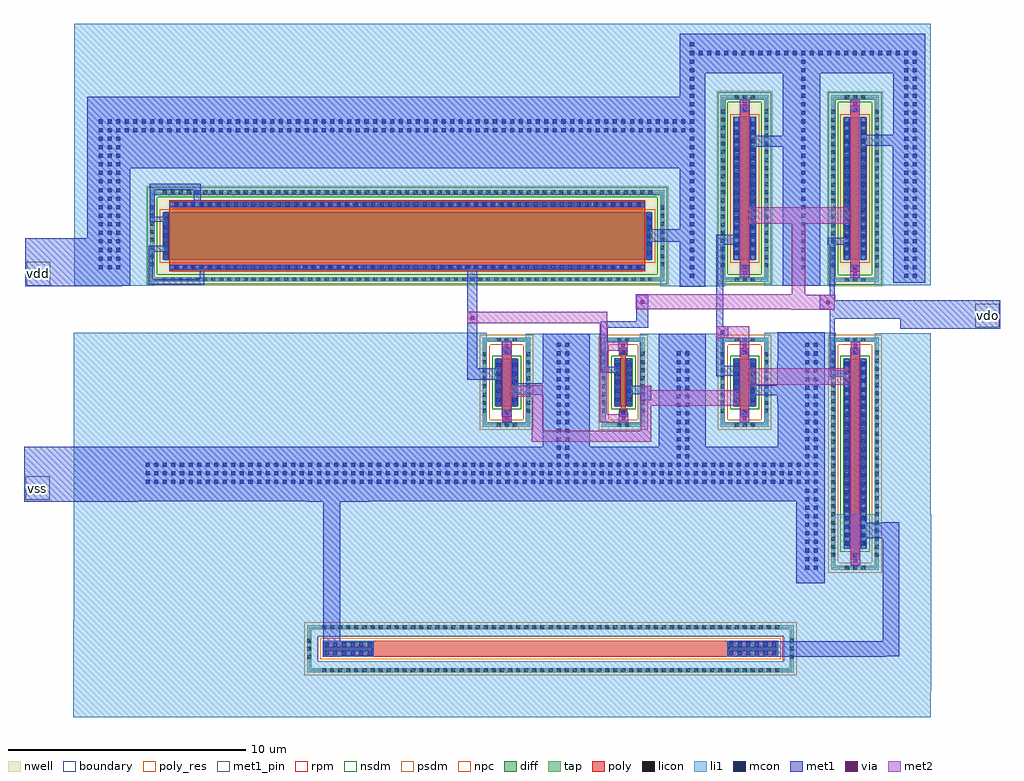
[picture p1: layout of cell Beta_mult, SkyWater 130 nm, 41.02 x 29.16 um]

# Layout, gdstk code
from math import pi, radians
import gdstk
lib = gdstk.Library(unit=1e-6, precision=1e-09)
def R(c, l, rs):  # rectangles x0, y0, x1, y1
    for r in rs: c.add(gdstk.rectangle(r[:2], r[2:], *l))
def A(c, l, x, y, w, h, nx, ny, dx, dy):  # array of equal rectangles
    R(c, l, [(x+i*dx, y+j*dy, x+i*dx+w, y+j*dy+h) for i in range(nx) for j in range(ny)])
nwell = (64, 20)
diff = (65, 20)
tap = (65, 44)
poly_res = (66, 13)
poly = (66, 20)
licon = (66, 44)
li1 = (67, 20)
mcon = (67, 44)
met1_pin = (68, 16)
met1 = (68, 20)
via = (68, 44)
met2 = (69, 20)
rpm = (86, 20)
nsdm = (93, 44)
psdm = (94, 20)
npc = (95, 20)
boundary = (235, 4)

sky130_fd_pr__res_high_p = lib.new_cell('sky130_fd_pr__res_high_po_0p69_APCDV8')
R(sky130_fd_pr__res_high_p, tap, [(-0.995,-10.23,0.995,-10.06), (-0.995,-10.06,-0.825,10.06), (0.825,-10.06,0.995,10.06), (-0.995,10.06,0.995,10.23)])
R(sky130_fd_pr__res_high_p, poly_res, [(-0.345,-7.5,0.345,7.5)])
R(sky130_fd_pr__res_high_p, poly, [(-0.345,-9.58,0.345,9.58)])
A(sky130_fd_pr__res_high_p, licon, -0.425, -10.23, 0.17, 0.17, 3, 2, 0.34, 20.29)
A(sky130_fd_pr__res_high_p, licon, -0.995, -9.605, 0.17, 0.17, 1, 57, 0, 0.34)
A(sky130_fd_pr__res_high_p, licon, 0.825, -9.605, 0.17, 0.17, 1, 57, 0, 0.34)
R(sky130_fd_pr__res_high_p, licon, [(-0.095,-9.5,0.095,-7.5), (-0.095,7.5,0.095,9.5)])
R(sky130_fd_pr__res_high_p, li1, [(-0.995,-10.23,0.995,-10.06), (-0.995,-10.06,-0.825,10.06), (0.825,-10.06,0.995,10.06), (-0.345,-9.58,0.345,-7.42), (-0.345,7.42,0.345,9.58), (-0.995,10.06,0.995,10.23)])
A(sky130_fd_pr__res_high_p, mcon, -0.265, -9.485, 0.17, 0.17, 1, 6, 0, 0.36)
A(sky130_fd_pr__res_high_p, mcon, 0.095, -9.485, 0.17, 0.17, 1, 6, 0, 0.36)
A(sky130_fd_pr__res_high_p, mcon, -0.265, 7.51, 0.17, 0.17, 1, 6, 0, 0.36)
A(sky130_fd_pr__res_high_p, mcon, 0.095, 7.51, 0.17, 0.17, 1, 6, 0, 0.36)
R(sky130_fd_pr__res_high_p, met1, [(-0.295,-9.55,0.295,-7.445), (-0.295,7.445,0.295,9.55)])
R(sky130_fd_pr__res_high_p, rpm, [(-0.545,-9.78,0.545,9.78)])
R(sky130_fd_pr__res_high_p, psdm, [(-1.12,-10.355,1.12,10.355)])
R(sky130_fd_pr__res_high_p, npc, [(-0.44,-9.675,0.44,9.675)])
R(sky130_fd_pr__res_high_p, boundary, [(-0.91,-10.145,0.91,10.145)])
sky130_fd_pr__res_high_p.add(gdstk.Label('B', (0,-10.145), layer=67, texttype=5))
sky130_fd_pr__res_high_p.add(gdstk.Label('R1', (0,9.405), layer=67, texttype=5))
sky130_fd_pr__res_high_p.add(gdstk.Label('R2', (0,-9.405), layer=67, texttype=5))

sky130_fd_pr__nfet_01v8_ = lib.new_cell('sky130_fd_pr__nfet_01v8_8SA9P7')
R(sky130_fd_pr__nfet_01v8_, diff, [(-0.39,-1,0.39,1)])
R(sky130_fd_pr__nfet_01v8_, tap, [(-0.9,-1.87,0.9,-1.7), (-0.9,-1.7,-0.73,1.7), (0.73,-1.7,0.9,1.7), (-0.9,1.7,0.9,1.87)])
R(sky130_fd_pr__nfet_01v8_, poly, [(-0.165,-1.44,0.165,-1.11), (-0.1,-1.11,0.1,1.11), (-0.165,1.11,0.165,1.44)])
A(sky130_fd_pr__nfet_01v8_, licon, -0.9, -1.275, 0.17, 0.17, 1, 8, 0, 0.34)
A(sky130_fd_pr__nfet_01v8_, licon, 0.73, -1.275, 0.17, 0.17, 1, 8, 0, 0.34)
A(sky130_fd_pr__nfet_01v8_, licon, -0.33, -0.935, 0.17, 0.17, 1, 6, 0, 0.34)
A(sky130_fd_pr__nfet_01v8_, licon, 0.16, -0.935, 0.17, 0.17, 1, 6, 0, 0.34)
R(sky130_fd_pr__nfet_01v8_, licon, [(-0.255,-1.87,-0.085,-1.7), (0.085,-1.87,0.255,-1.7), (-0.085,-1.36,0.085,-1.19), (-0.085,1.19,0.085,1.36), (-0.255,1.7,-0.085,1.87), (0.085,1.7,0.255,1.87)])
R(sky130_fd_pr__nfet_01v8_, li1, [(-0.9,-1.87,0.9,-1.7), (-0.9,-1.7,-0.73,1.7), (0.73,-1.7,0.9,1.7), (-0.165,-1.36,0.165,-1.19), (-0.33,-1.02,-0.16,1.02), (0.16,-1.02,0.33,1.02), (-0.165,1.19,0.165,1.36), (-0.9,1.7,0.9,1.87)])
A(sky130_fd_pr__nfet_01v8_, mcon, -0.33, -0.805, 0.17, 0.17, 1, 5, 0, 0.36)
A(sky130_fd_pr__nfet_01v8_, mcon, 0.16, -0.805, 0.17, 0.17, 1, 5, 0, 0.36)
R(sky130_fd_pr__nfet_01v8_, mcon, [(-0.085,-1.36,0.085,-1.19), (-0.085,1.19,0.085,1.36)])
R(sky130_fd_pr__nfet_01v8_, met1, [(-0.145,-1.39,0.145,-1.16), (-0.36,-1,-0.13,1), (0.13,-1,0.36,1), (-0.145,1.16,0.145,1.39)])
R(sky130_fd_pr__nfet_01v8_, nsdm, [(-0.515,-1.125,0.515,1.125)])
R(sky130_fd_pr__nfet_01v8_, psdm, [(-1.025,-1.995,1.025,-1.575), (-1.025,-1.575,-0.605,1.575), (0.605,-1.575,1.025,1.575), (-1.025,1.575,1.025,1.995)])
R(sky130_fd_pr__nfet_01v8_, npc, [(-0.185,-1.46,0.185,-1.09), (-0.185,1.09,0.185,1.46)])
R(sky130_fd_pr__nfet_01v8_, boundary, [(-0.815,-1.785,0.815,1.785)])
sky130_fd_pr__nfet_01v8_.add(gdstk.Label('B', (0,-1.785), layer=67, texttype=5))
sky130_fd_pr__nfet_01v8_.add(gdstk.Label('D', (-0.245,0), layer=67, texttype=5))
sky130_fd_pr__nfet_01v8_.add(gdstk.Label('S', (0.245,0), layer=67, texttype=5))
sky130_fd_pr__nfet_01v8_.add(gdstk.Label('G', (0,1.275), layer=67, texttype=5))

c_sky130_fd_pr__nfet_01v8_ = lib.new_cell('sky130_fd_pr__nfet_01v8_8NR3P7')
R(c_sky130_fd_pr__nfet_01v8_, diff, [(-0.49,-1,0.49,1)])
R(c_sky130_fd_pr__nfet_01v8_, tap, [(-1,-1.87,1,-1.7), (-1,-1.7,-0.83,1.7), (0.83,-1.7,1,1.7), (-1,1.7,1,1.87)])
R(c_sky130_fd_pr__nfet_01v8_, poly, [(-0.2,-1.44,0.2,1.44)])
A(c_sky130_fd_pr__nfet_01v8_, licon, -0.425, -1.87, 0.17, 0.17, 3, 2, 0.34, 3.57)
A(c_sky130_fd_pr__nfet_01v8_, licon, -1, -1.275, 0.17, 0.17, 1, 8, 0, 0.34)
A(c_sky130_fd_pr__nfet_01v8_, licon, 0.83, -1.275, 0.17, 0.17, 1, 8, 0, 0.34)
A(c_sky130_fd_pr__nfet_01v8_, licon, -0.43, -0.935, 0.17, 0.17, 1, 6, 0, 0.34)
A(c_sky130_fd_pr__nfet_01v8_, licon, 0.26, -0.935, 0.17, 0.17, 1, 6, 0, 0.34)
R(c_sky130_fd_pr__nfet_01v8_, licon, [(-0.085,-1.36,0.085,-1.19), (-0.085,1.19,0.085,1.36)])
R(c_sky130_fd_pr__nfet_01v8_, li1, [(-1,-1.87,1,-1.7), (-1,-1.7,-0.83,1.7), (0.83,-1.7,1,1.7), (-0.2,-1.36,0.2,-1.19), (-0.43,-1.02,-0.26,1.02), (0.26,-1.02,0.43,1.02), (-0.2,1.19,0.2,1.36), (-1,1.7,1,1.87)])
A(c_sky130_fd_pr__nfet_01v8_, mcon, -0.43, -0.805, 0.17, 0.17, 1, 5, 0, 0.36)
A(c_sky130_fd_pr__nfet_01v8_, mcon, 0.26, -0.805, 0.17, 0.17, 1, 5, 0, 0.36)
R(c_sky130_fd_pr__nfet_01v8_, mcon, [(-0.085,-1.36,0.085,-1.19), (-0.085,1.19,0.085,1.36)])
R(c_sky130_fd_pr__nfet_01v8_, met1, [(-0.18,-1.39,0.18,-1.16), (-0.46,-1,-0.23,1), (0.23,-1,0.46,1), (-0.18,1.16,0.18,1.39)])
R(c_sky130_fd_pr__nfet_01v8_, nsdm, [(-0.615,-1.125,0.615,1.125)])
R(c_sky130_fd_pr__nfet_01v8_, psdm, [(-1.125,-1.995,1.125,-1.575), (-1.125,-1.575,-0.705,1.575), (0.705,-1.575,1.125,1.575), (-1.125,1.575,1.125,1.995)])
R(c_sky130_fd_pr__nfet_01v8_, npc, [(-0.185,-1.46,0.185,-1.09), (-0.185,1.09,0.185,1.46)])
R(c_sky130_fd_pr__nfet_01v8_, boundary, [(-0.915,-1.785,0.915,1.785)])
c_sky130_fd_pr__nfet_01v8_.add(gdstk.Label('B', (0,-1.785), layer=67, texttype=5))
c_sky130_fd_pr__nfet_01v8_.add(gdstk.Label('D', (-0.345,0), layer=67, texttype=5))
c_sky130_fd_pr__nfet_01v8_.add(gdstk.Label('S', (0.345,0), layer=67, texttype=5))
c_sky130_fd_pr__nfet_01v8_.add(gdstk.Label('G', (0,1.275), layer=67, texttype=5))

sky130_fd_pr__pfet_01v8_ = lib.new_cell('sky130_fd_pr__pfet_01v8_B6MYM2')
R(sky130_fd_pr__pfet_01v8_, nwell, [(-10.98,-2.095,10.98,2.095)])
R(sky130_fd_pr__pfet_01v8_, diff, [(-10.29,-1,10.29,1)])
R(sky130_fd_pr__pfet_01v8_, tap, [(-10.8,-1.915,10.8,-1.745), (-10.8,-1.745,-10.63,1.745), (10.63,-1.745,10.8,1.745), (-10.8,1.745,10.8,1.915)])
R(sky130_fd_pr__pfet_01v8_, poly, [(-10,-1.485,10,1.485)])
A(sky130_fd_pr__pfet_01v8_, licon, -10.285, -1.915, 0.17, 0.17, 61, 2, 0.34, 3.66)
A(sky130_fd_pr__pfet_01v8_, licon, -9.775, -1.405, 0.17, 0.17, 58, 2, 0.34, 2.64)
A(sky130_fd_pr__pfet_01v8_, licon, -10.8, -1.275, 0.17, 0.17, 1, 8, 0, 0.34)
A(sky130_fd_pr__pfet_01v8_, licon, 10.63, -1.275, 0.17, 0.17, 1, 8, 0, 0.34)
A(sky130_fd_pr__pfet_01v8_, licon, -10.23, -0.935, 0.17, 0.17, 1, 6, 0, 0.34)
A(sky130_fd_pr__pfet_01v8_, licon, 10.06, -0.935, 0.17, 0.17, 1, 6, 0, 0.34)
R(sky130_fd_pr__pfet_01v8_, li1, [(-10.8,-1.915,10.8,-1.745), (-10.8,-1.745,-10.63,1.745), (10.63,-1.745,10.8,1.745), (-10,-1.405,10,-1.235), (-10.23,-1.02,-10.06,1.02), (10.06,-1.02,10.23,1.02), (-10,1.235,10,1.405), (-10.8,1.745,10.8,1.915)])
A(sky130_fd_pr__pfet_01v8_, mcon, -9.805, -1.405, 0.17, 0.17, 55, 2, 0.36, 2.64)
A(sky130_fd_pr__pfet_01v8_, mcon, -10.23, -0.805, 0.17, 0.17, 1, 5, 0, 0.36)
A(sky130_fd_pr__pfet_01v8_, mcon, 10.06, -0.805, 0.17, 0.17, 1, 5, 0, 0.36)
R(sky130_fd_pr__pfet_01v8_, met1, [(-9.98,-1.435,9.98,-1.205), (-10.26,-1,-10.03,1), (10.03,-1,10.26,1), (-9.98,1.205,9.98,1.435)])
R(sky130_fd_pr__pfet_01v8_, nsdm, [(-10.925,-2.04,10.925,-1.62), (-10.925,-1.62,-10.505,1.62), (10.505,-1.62,10.925,1.62), (-10.925,1.62,10.925,2.04)])
R(sky130_fd_pr__pfet_01v8_, psdm, [(-10.415,-1.125,10.415,1.125)])
R(sky130_fd_pr__pfet_01v8_, npc, [(-9.875,-1.505,9.875,-1.135), (-9.875,1.135,9.875,1.505)])
R(sky130_fd_pr__pfet_01v8_, boundary, [(-10.715,-1.83,10.715,1.83)])
sky130_fd_pr__pfet_01v8_.add(gdstk.Label('B', (0,-1.83), layer=67, texttype=5))
sky130_fd_pr__pfet_01v8_.add(gdstk.Label('D', (-10.145,0), layer=67, texttype=5))
sky130_fd_pr__pfet_01v8_.add(gdstk.Label('S', (10.145,0), layer=67, texttype=5))
sky130_fd_pr__pfet_01v8_.add(gdstk.Label('G', (0,1.32), layer=67, texttype=5))

c_sky130_fd_pr__nfet_01v8__ = lib.new_cell('sky130_fd_pr__nfet_01v8_WVN3PK')
R(c_sky130_fd_pr__nfet_01v8__, diff, [(-0.49,-4,0.49,4)])
R(c_sky130_fd_pr__nfet_01v8__, tap, [(-1,-4.87,1,-4.7), (-1,-4.7,-0.83,4.7), (0.83,-4.7,1,4.7), (-1,4.7,1,4.87)])
R(c_sky130_fd_pr__nfet_01v8__, poly, [(-0.2,-4.44,0.2,4.44)])
A(c_sky130_fd_pr__nfet_01v8__, licon, -0.425, -4.87, 0.17, 0.17, 3, 2, 0.34, 9.57)
A(c_sky130_fd_pr__nfet_01v8__, licon, -1, -4.335, 0.17, 0.17, 1, 26, 0, 0.34)
A(c_sky130_fd_pr__nfet_01v8__, licon, 0.83, -4.335, 0.17, 0.17, 1, 26, 0, 0.34)
A(c_sky130_fd_pr__nfet_01v8__, licon, -0.43, -3.825, 0.17, 0.17, 1, 23, 0, 0.34)
A(c_sky130_fd_pr__nfet_01v8__, licon, 0.26, -3.825, 0.17, 0.17, 1, 23, 0, 0.34)
R(c_sky130_fd_pr__nfet_01v8__, licon, [(-0.085,-4.36,0.085,-4.19), (-0.085,4.19,0.085,4.36)])
R(c_sky130_fd_pr__nfet_01v8__, li1, [(-1,-4.87,1,-4.7), (-1,-4.7,-0.83,4.7), (0.83,-4.7,1,4.7), (-0.2,-4.36,0.2,-4.19), (-0.43,-4.02,-0.26,4.02), (0.26,-4.02,0.43,4.02), (-0.2,4.19,0.2,4.36), (-1,4.7,1,4.87)])
A(c_sky130_fd_pr__nfet_01v8__, mcon, -0.43, -3.865, 0.17, 0.17, 1, 22, 0, 0.36)
A(c_sky130_fd_pr__nfet_01v8__, mcon, 0.26, -3.865, 0.17, 0.17, 1, 22, 0, 0.36)
R(c_sky130_fd_pr__nfet_01v8__, mcon, [(-0.085,-4.36,0.085,-4.19), (-0.085,4.19,0.085,4.36)])
R(c_sky130_fd_pr__nfet_01v8__, met1, [(-0.18,-4.39,0.18,-4.16), (-0.46,-4,-0.23,4), (0.23,-4,0.46,4), (-0.18,4.16,0.18,4.39)])
R(c_sky130_fd_pr__nfet_01v8__, nsdm, [(-0.615,-4.125,0.615,4.125)])
R(c_sky130_fd_pr__nfet_01v8__, psdm, [(-1.125,-4.995,1.125,-4.575), (-1.125,-4.575,-0.705,4.575), (0.705,-4.575,1.125,4.575), (-1.125,4.575,1.125,4.995)])
R(c_sky130_fd_pr__nfet_01v8__, npc, [(-0.185,-4.46,0.185,-4.09), (-0.185,4.09,0.185,4.46)])
R(c_sky130_fd_pr__nfet_01v8__, boundary, [(-0.915,-4.785,0.915,4.785)])
c_sky130_fd_pr__nfet_01v8__.add(gdstk.Label('B', (0,-4.785), layer=67, texttype=5))
c_sky130_fd_pr__nfet_01v8__.add(gdstk.Label('D', (-0.345,0), layer=67, texttype=5))
c_sky130_fd_pr__nfet_01v8__.add(gdstk.Label('S', (0.345,0), layer=67, texttype=5))
c_sky130_fd_pr__nfet_01v8__.add(gdstk.Label('G', (0,4.275), layer=67, texttype=5))

c_sky130_fd_pr__pfet_01v8_ = lib.new_cell('sky130_fd_pr__pfet_01v8_NMD27C')
R(c_sky130_fd_pr__pfet_01v8_, nwell, [(-1.18,-4.095,1.18,4.095)])
R(c_sky130_fd_pr__pfet_01v8_, diff, [(-0.49,-3,0.49,3)])
R(c_sky130_fd_pr__pfet_01v8_, tap, [(-1,-3.915,1,-3.745), (-1,-3.745,-0.83,3.745), (0.83,-3.745,1,3.745), (-1,3.745,1,3.915)])
R(c_sky130_fd_pr__pfet_01v8_, poly, [(-0.2,-3.485,0.2,3.485)])
A(c_sky130_fd_pr__pfet_01v8_, licon, -0.425, -3.915, 0.17, 0.17, 3, 2, 0.34, 7.66)
A(c_sky130_fd_pr__pfet_01v8_, licon, -1, -3.315, 0.17, 0.17, 1, 20, 0, 0.34)
A(c_sky130_fd_pr__pfet_01v8_, licon, 0.83, -3.315, 0.17, 0.17, 1, 20, 0, 0.34)
A(c_sky130_fd_pr__pfet_01v8_, licon, -0.43, -2.805, 0.17, 0.17, 1, 17, 0, 0.34)
A(c_sky130_fd_pr__pfet_01v8_, licon, 0.26, -2.805, 0.17, 0.17, 1, 17, 0, 0.34)
R(c_sky130_fd_pr__pfet_01v8_, licon, [(-0.085,-3.405,0.085,-3.235), (-0.085,3.235,0.085,3.405)])
R(c_sky130_fd_pr__pfet_01v8_, li1, [(-1,-3.915,1,-3.745), (-1,-3.745,-0.83,3.745), (0.83,-3.745,1,3.745), (-0.2,-3.405,0.2,-3.235), (-0.43,-3.02,-0.26,3.02), (0.26,-3.02,0.43,3.02), (-0.2,3.235,0.2,3.405), (-1,3.745,1,3.915)])
A(c_sky130_fd_pr__pfet_01v8_, mcon, -0.43, -2.785, 0.17, 0.17, 1, 16, 0, 0.36)
A(c_sky130_fd_pr__pfet_01v8_, mcon, 0.26, -2.785, 0.17, 0.17, 1, 16, 0, 0.36)
R(c_sky130_fd_pr__pfet_01v8_, mcon, [(-0.085,-3.405,0.085,-3.235), (-0.085,3.235,0.085,3.405)])
R(c_sky130_fd_pr__pfet_01v8_, met1, [(-0.18,-3.435,0.18,-3.205), (-0.46,-3,-0.23,3), (0.23,-3,0.46,3), (-0.18,3.205,0.18,3.435)])
R(c_sky130_fd_pr__pfet_01v8_, nsdm, [(-1.125,-4.04,1.125,-3.62), (-1.125,-3.62,-0.705,3.62), (0.705,-3.62,1.125,3.62), (-1.125,3.62,1.125,4.04)])
R(c_sky130_fd_pr__pfet_01v8_, psdm, [(-0.615,-3.125,0.615,3.125)])
R(c_sky130_fd_pr__pfet_01v8_, npc, [(-0.185,-3.505,0.185,-3.135), (-0.185,3.135,0.185,3.505)])
R(c_sky130_fd_pr__pfet_01v8_, boundary, [(-0.915,-3.83,0.915,3.83)])
c_sky130_fd_pr__pfet_01v8_.add(gdstk.Label('B', (0,-3.83), layer=67, texttype=5))
c_sky130_fd_pr__pfet_01v8_.add(gdstk.Label('D', (-0.345,0), layer=67, texttype=5))
c_sky130_fd_pr__pfet_01v8_.add(gdstk.Label('S', (0.345,0), layer=67, texttype=5))
c_sky130_fd_pr__pfet_01v8_.add(gdstk.Label('G', (0,3.32), layer=67, texttype=5))

beta_mult = lib.new_cell('Beta_mult')
R(beta_mult, li1, [(-4.05,1.87,32.01,2.96), (-4.05,2.96,32.02,4.24), (-4.05,4.24,6.24,5.27), (25.85,4.24,32.02,5.27), (-4.05,5.27,32.02,5.96), (-4.02,5.96,32.02,10.4), (-4.01,10.4,28.01,14.28), (29.65,10.4,31.99,18.01), (-4.01,14.28,13.33,18.03), (14.98,14.28,18.35,18), (19.77,14.28,23.35,17.99), (25,14.28,28.01,18.04), (-4.01,18.03,5.53,18.04), (20.64,20,23.37,23.81), (-4.005,20.01,-0.63,23.81), (25,20.01,28.01,27.83), (29.65,20.03,31.99,27.83), (-4.005,23.81,23.38,27.83), (-4.005,27.83,31.99,31.02), (-4.005,31.02,23.38,31.03)])
A(beta_mult, mcon, 26.725, 8.08, 0.17, 0.17, 1, 10, 0, 0.36)
A(beta_mult, mcon, 27.085, 8.08, 0.17, 0.17, 1, 10, 0, 0.36)
A(beta_mult, mcon, -0.995, 11.68, 0.17, 0.17, 79, 3, 0.36, 0.36)
A(beta_mult, mcon, 16.285, 12.76, 0.17, 0.17, 1, 14, 0, 0.36)
A(beta_mult, mcon, 16.645, 12.76, 0.17, 0.17, 1, 14, 0, 0.36)
A(beta_mult, mcon, 21.325, 12.76, 0.17, 0.17, 1, 13, 0, 0.36)
A(beta_mult, mcon, 21.685, 12.76, 0.17, 0.17, 1, 13, 0, 0.36)
A(beta_mult, mcon, 26.725, 12.76, 0.17, 0.17, 1, 14, 0, 0.36)
A(beta_mult, mcon, 27.085, 12.76, 0.17, 0.17, 1, 14, 0, 0.36)
A(beta_mult, mcon, 21.88, 20.35, 0.17, 0.17, 1, 17, 0, 0.36)
A(beta_mult, mcon, 30.88, 20.35, 0.17, 0.17, 1, 26, 0, 0.36)
A(beta_mult, mcon, 31.24, 20.35, 0.17, 0.17, 1, 26, 0, 0.36)
A(beta_mult, mcon, -2.96, 20.71, 0.17, 0.17, 3, 16, 0.36, 0.36)
A(beta_mult, mcon, 26.56, 20.71, 0.17, 0.17, 1, 25, 0, 0.36)
A(beta_mult, mcon, -2.96, 26.47, 0.17, 0.17, 70, 2, 0.36, 0.36)
A(beta_mult, mcon, 21.88, 27.19, 0.17, 0.17, 1, 7, 0, 0.36)
A(beta_mult, mcon, 21.88, 29.71, 0.17, 0.17, 27, 1, 0.36, 0)
R(beta_mult, mcon, [(21.88,30.07,22.05,30.24)])
R(beta_mult, met1_pin, [(-6.03,11.01,-5.03,12.01), (33.87,18.26,34.87,19.26), (-6,20.02,-5,21.02)])
R(beta_mult, met1, [(23.51,4.41,30.11,4.43), (6.47,4.42,7.19,10.94), (23.51,4.43,30.68,5.08), (29.98,5.08,30.68,9.41), (26.35,7.51,27.54,10.95), (28.63,8.25,29.03,8.65), (29.06,9.25,29.22,9.41), (29.06,9.41,30.68,9.76), (29.16,9.76,30.68,10.06), (29.98,10.06,30.68,10.07), (-6.11,10.93,-1.33,10.95), (5.8,10.94,8.41,10.95), (-6.11,10.95,27.54,13.24), (-6.11,13.24,-1.33,13.25), (15.69,13.24,17.67,15.44), (20.57,13.24,22.55,18), (25.56,13.24,27.54,15.09), (13.99,14.28,14.39,14.68), (18.88,14.28,19.28,14.68), (23.98,14.28,24.38,14.68), (25.54,15.09,27.54,15.41), (19.8,15.21,20.25,15.46), (24.51,15.41,27.54,15.82), (14.53,15.44,17.67,15.92), (19.35,15.46,20.25,15.8), (25.54,15.82,27.54,16.82), (15.69,15.92,17.67,18), (12.52,16.07,13.79,16.55), (27.75,16.18,28.45,16.46), (22.99,16.21,23.28,16.22), (22.99,16.22,23.84,16.64), (18.14,16.35,18.82,16.6), (27.75,16.46,27.97,18.62), (12.52,16.55,12.94,20.75), (18.14,16.6,18.43,18.25), (22.99,16.64,23.28,17.81), (25.56,16.82,27.54,18.05), (13.97,17.25,14.37,17.65), (23.98,17.25,24.38,17.65), (28.63,17.25,29.03,17.65), (18.86,17.26,19.26,17.66), (22.98,17.81,23.49,18.31), (30.72,18.21,34.91,18.62), (19.63,18.24,20.12,18.25), (18.14,18.25,20.12,18.51), (22.99,18.31,23.28,21.74), (19.63,18.51,20.12,19.64), (27.75,18.62,34.91,19.02), (27.33,19.02,34.91,19.41), (27.33,19.41,27.98,19.63), (27.75,19.63,27.97,21.73), (21.45,19.98,22.53,21.87), (-6.05,19.99,-2.01,20.01), (-6.05,20.01,-1.65,22.01), (25.78,20.01,27.35,22.06), (-0.87,20.06,1.47,20.28), (30.42,20.13,31.76,22.14), (-0.87,20.28,-0.69,21.45), (1.27,20.28,1.47,20.76), (28.62,20.35,29.02,20.75), (23.98,20.36,24.38,20.76), (-0.87,21.45,-0.15,21.7), (27.67,21.73,28.46,22.02), (22.99,21.74,23.81,22.16), (20.17,21.87,22.53,22.39), (-3.46,22.01,-1.65,24.96), (25.77,22.06,27.35,25.86), (30.41,22.14,31.76,25.9), (21.45,22.39,22.53,24.96), (-0.82,22.7,-0.16,22.91), (-0.82,22.91,-0.62,24.04), (1.03,23.45,1.31,24.04), (-0.82,24.04,1.32,24.29), (-3.46,24.96,22.53,27.95), (24.52,25.86,27.35,26.31), (29.2,25.9,31.76,26.35), (25.78,26.31,27.35,28.95), (30.42,26.35,31.76,28.95), (23.98,27.43,24.38,27.83), (28.62,27.43,29.02,27.83), (21.45,27.95,22.53,28.95), (21.45,28.95,31.76,30.6)])
R(beta_mult, via, [(28.77,8.365,28.92,8.515), (14.105,14.35,14.255,14.5), (19.005,14.36,19.155,14.51), (24.1,14.365,24.25,14.515), (14.095,17.41,14.245,17.56), (28.76,17.415,28.91,17.565), (18.985,17.42,19.135,17.57), (24.1,17.425,24.25,17.575), (23.165,17.99,23.315,18.14), (12.665,18.59,12.815,18.74), (27.6,19.24,27.75,19.39), (19.81,19.26,19.96,19.41), (28.74,20.435,28.89,20.585), (24.11,20.465,24.26,20.615), (24.11,27.595,24.26,27.745), (28.75,27.595,28.9,27.745)])
R(beta_mult, met2, [(28.63,8.26,29.04,15.85), (15.23,13.46,20.26,13.92), (15.24,13.92,15.69,15.35), (19.81,13.92,20.26,14.96), (18.08,14.27,19.28,14.62), (23.98,14.27,24.38,14.96), (13.98,14.29,14.38,15.35), (18.08,14.62,18.41,17.29), (19.81,14.96,24.38,15.61), (13.98,15.35,15.69,15.81), (19.81,15.61,20.26,15.81), (23.98,15.61,24.38,15.85), (13.98,15.81,14.38,17.65), (15.24,15.81,15.69,15.82), (23.98,15.85,29.04,16.55), (23.98,16.55,24.38,17.81), (28.63,16.55,29.04,17.65), (18.08,17.29,19.27,17.66), (18.08,17.66,18.41,18.43), (22.98,17.81,24.38,18.32), (12.52,18.43,18.41,18.91), (26.15,19.01,27.97,19.02), (19.6,19.02,27.97,19.64), (19.6,19.64,26.73,19.65), (26.15,19.65,26.73,22.61), (28.61,20.35,29.02,22.61), (23.98,20.36,24.39,22.61), (23.98,22.61,29.02,23.31), (23.98,23.31,24.39,27.83), (28.61,23.31,29.02,27.82)])
beta_mult.add(gdstk.Reference(sky130_fd_pr__res_high_p, (16.02,4.755), rotation=3*pi/2))
beta_mult.add(gdstk.Reference(sky130_fd_pr__nfet_01v8_, (19.08,15.955)))
beta_mult.add(gdstk.Reference(c_sky130_fd_pr__nfet_01v8_, (14.175,15.95)))
beta_mult.add(gdstk.Reference(sky130_fd_pr__pfet_01v8_, (10.005,22.11)))
beta_mult.add(gdstk.Reference(c_sky130_fd_pr__nfet_01v8_, (24.18,15.95)))
beta_mult.add(gdstk.Reference(c_sky130_fd_pr__nfet_01v8__, (28.82,12.95)))
beta_mult.add(gdstk.Reference(c_sky130_fd_pr__pfet_01v8_, (24.18,24.105)))
beta_mult.add(gdstk.Reference(c_sky130_fd_pr__pfet_01v8_, (28.82,24.095)))
beta_mult.add(gdstk.Label('vdo', (34.37,18.76), layer=68, texttype=5))
beta_mult.add(gdstk.Label('vdd', (-5.5,20.52), layer=68, texttype=5))
beta_mult.add(gdstk.Label('vss', (-5.53,11.51), layer=68, texttype=5))

lib.write_gds('Beta_mult.gds')
